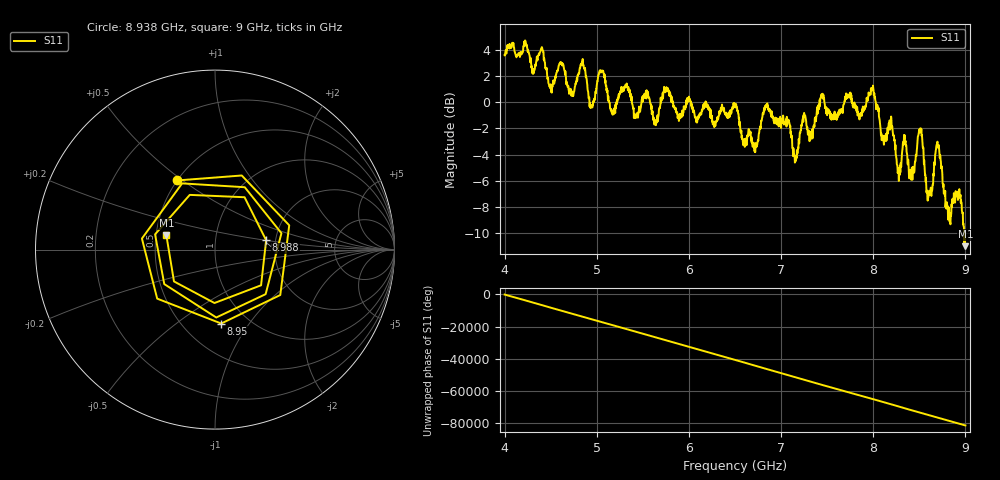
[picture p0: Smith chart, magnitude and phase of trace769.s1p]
! Created with skrf 1.8.0 (http://scikit-rf.org).
# Hz S RI R 50.0
!freq ReS11 ImS11
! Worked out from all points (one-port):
!   1601 points, 4 GHz to 9 GHz, reference 50 ohm
!   lowest |S11| = -11.0 dB at 9 GHz (marker M1), VSWR 1.79, Z = 28.4 + j4.9 ohm
!   |S11| at or under -10 dB: 8.985589 GHz to 8.990305 GHz (4.716 MHz wide, 0.0525 % of centre); 8.991909 GHz to end of sweep
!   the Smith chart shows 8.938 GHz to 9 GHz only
!   S11 on the Smith chart (normalised r, x): 8.938 GHz: 0.50, +0.48; 8.95 GHz: 0.75, -0.75; 8.988 GHz: 1.78, +0.20; 9 GHz: 0.57, +0.10
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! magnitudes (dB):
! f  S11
! 4 GHz  3.6
! 4.397 GHz  4.1
! 4.5 GHz  1.3
! 4.625 GHz  2.8
! 4.731 GHz  0.8
! 4.85 GHz  3.0
! 4.944 GHz  -0.3
! 5.047 GHz  2.4
! 5.169 GHz  -0.8
! 5.25 GHz  0.6
! 5.875 GHz  -0.9
! 6.5 GHz  -0.2
! 6.6 GHz  -3.2
! 6.844 GHz  -0.3
! 7.125 GHz  -3.5
! 7.441 GHz  0.5
! 7.75 GHz  0.7
! 7.994 GHz  1.0
! 8.109 GHz  -2.9
! 8.375 GHz  -4.8
! 8.509 GHz  -2.0
! 8.603 GHz  -7.0
! 8.697 GHz  -3.0
! 8.812 GHz  -9.0
! 8.938 GHz  -7.2
! 8.95 GHz  -7.7
! 8.988 GHz  -10.8
! 9 GHz  -11.0
